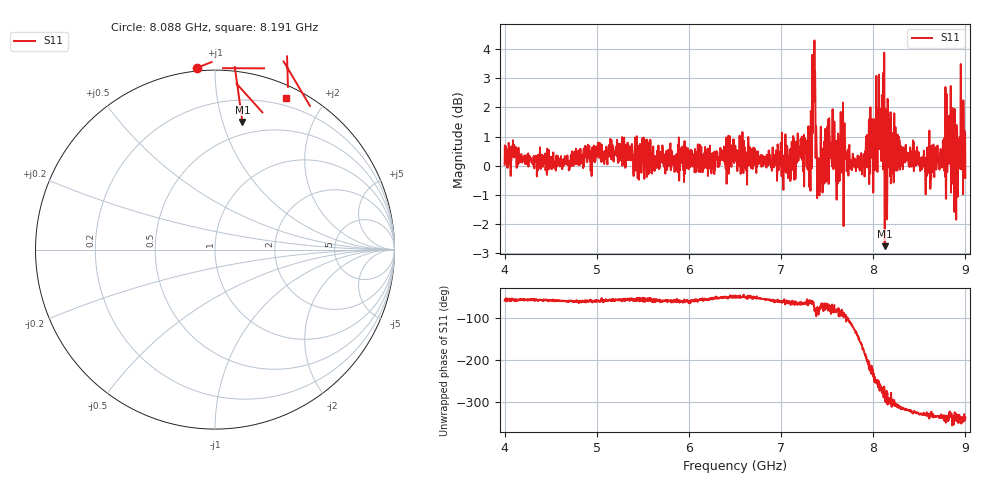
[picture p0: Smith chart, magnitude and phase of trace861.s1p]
! Created with skrf 1.8.0 (http://scikit-rf.org).
# Hz S RI R 50.0
!freq ReS11 ImS11
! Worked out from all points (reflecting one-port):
!   1601 points, 4 GHz to 9 GHz, reference 50 ohm
!   lowest |S11| = -2.8 dB at 8.125 GHz (marker M1), VSWR 6.35, Z = 19.2 + j58.1 ohm
!   phase of S11 starts at -60 deg and turns -277 deg over the sweep
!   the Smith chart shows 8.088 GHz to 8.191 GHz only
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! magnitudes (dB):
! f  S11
! 4 GHz  0.0
! 4.625 GHz  -0.1
! 5.25 GHz  0.4
! 5.875 GHz  0.2
! 6.5 GHz  0.3
! 7.125 GHz  0.7
! 7.294 GHz  0.6
! 7.319 GHz  -0.9
! 7.347 GHz  3.4
! 7.362 GHz  4.3
! 7.397 GHz  0.2
! 7.412 GHz  -0.6
! 7.509 GHz  0.8
! 7.609 GHz  0.6
! 7.669 GHz  0.8
! 7.75 GHz  0.0
! 8.022 GHz  0.4
! 8.056 GHz  1.4
! 8.094 GHz  2.4
! 8.125 GHz  -2.8
! 8.197 GHz  0.2
! 8.375 GHz  0.3
! 8.638 GHz  -0.2
! 8.766 GHz  0.8
! 8.819 GHz  0.1
! 8.9 GHz  -1.9
! 8.972 GHz  1.1
! 9 GHz  -0.4
